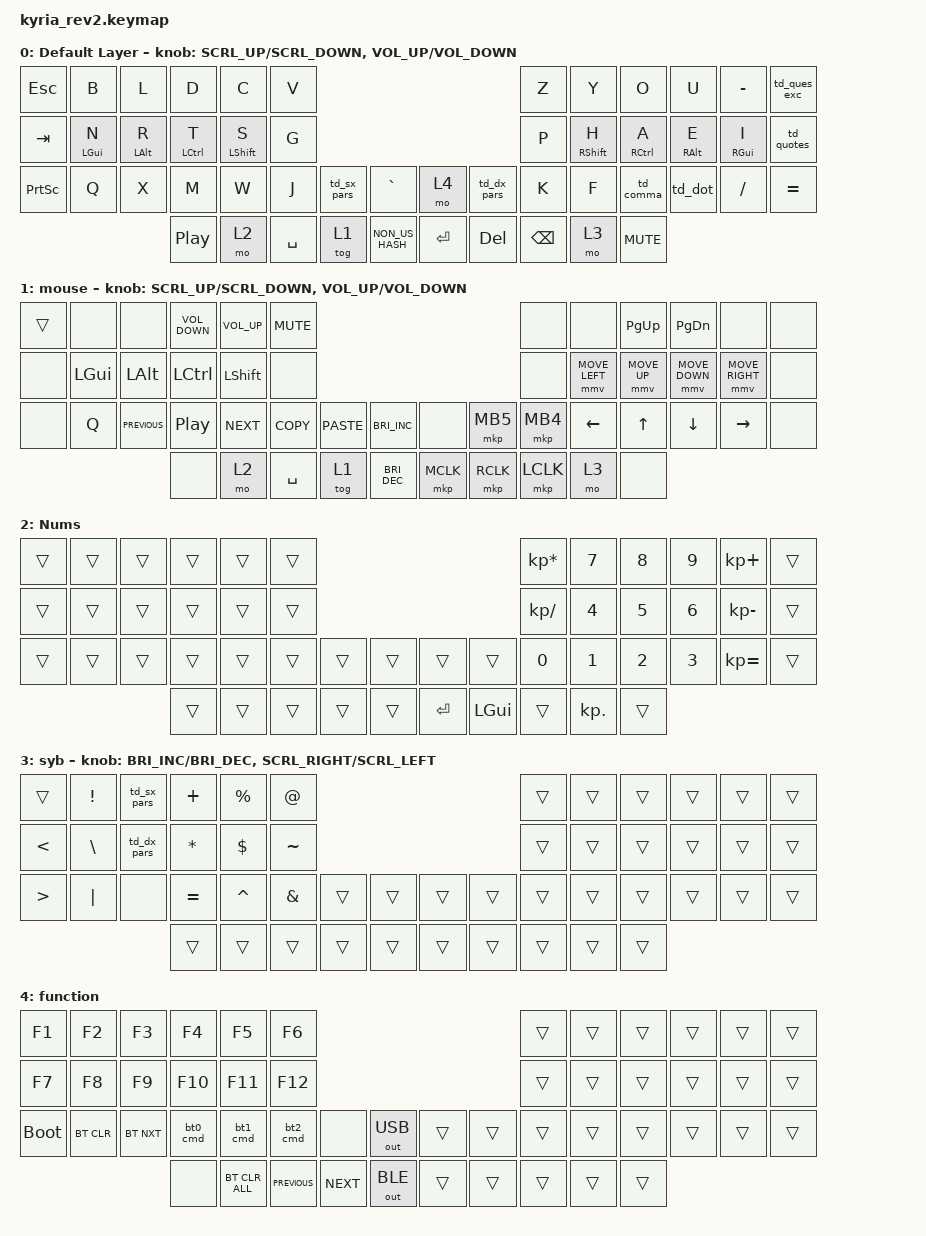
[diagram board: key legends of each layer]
// Define scroll speed BEFORE including pointing.h
// #define ZMK_POINTING_DEFAULT_MOVE_VAL 600

#define ZMK_POINTING_DEFAULT_MOVE_VAL 1100
#define ZMK_POINTING_DEFAULT_SCRL_VAL 100

#include <locale/keys_en_gb_extended.h>
#include <behaviors.dtsi>
#include <dt-bindings/zmk/bt.h>
#include <dt-bindings/zmk/keys.h>
#include <dt-bindings/zmk/outputs.h>
#include <dt-bindings/zmk/pointing.h>

&mt {
    flavor = "balanced";
    tapping-term-ms = <300>;
    quick-tap-ms = <175>;
    require-prior-idle-ms = <150>;
    hold-trigger-on-release;
};

/ {
    behaviors {
        mouse_scroll: sensor_scroll {
            compatible = "zmk,behavior-sensor-rotate-var";
            #sensor-binding-cells = <2>;
            bindings = <&msc>, <&msc>;

            tap-ms = <20>;
        };

        td_sx_pars: parenthesis {
            compatible = "zmk,behavior-tap-dance";
            #binding-cells = <0>;
            tapping-term-ms = <200>;
            bindings =
                <&kp LEFT_PARENTHESIS>,
                <&kp LEFT_BRACKET>,
                <&kp LEFT_BRACE>;
        };

        td_dx_pars: dxpar {
            compatible = "zmk,behavior-tap-dance";
            #binding-cells = <0>;
            tapping-term-ms = <200>;
            bindings =
                <&kp RIGHT_PARENTHESIS>,
                <&kp RIGHT_BRACKET>,
                <&kp RIGHT_BRACE>;
        };

        td_comma: commas {
            compatible = "zmk,behavior-tap-dance";
            label = "TD_COMMA";
            #binding-cells = <0>;
            bindings = <&kp COMMA>, <&kp SEMI>;

            tapping-term-ms = <200>;
        };

        td_dot: period {
            compatible = "zmk,behavior-tap-dance";
            label = "TD_DOT";
            #binding-cells = <0>;
            bindings = <&kp DOT>, <&kp COLON>;

            tapping-term-ms = <200>;
        };

        // select which bt profile, hold to disconnect if inactive

        bt0_cmd: bt0_cmd {
            compatible = "zmk,behavior-tap-dance";
            label = "BT0_CMD";
            #binding-cells = <0>;
            bindings = <&bt BT_SEL 0>, <&bt BT_DISC 0>;
        };

        bt1_cmd: bt1_cmd {
            compatible = "zmk,behavior-tap-dance";
            label = "BT1_CMD";
            #binding-cells = <0>;
            bindings = <&bt BT_SEL 1>, <&bt BT_DISC 1>;
        };

        bt2_cmd: bt2_cmd {
            compatible = "zmk,behavior-tap-dance";
            label = "BT2_CMD";
            #binding-cells = <0>;
            bindings = <&bt BT_SEL 2>, <&bt BT_DISC 2>;
        };

        td_prntscr: td_prntscr {
            compatible = "zmk,behavior-tap-dance";
            label = "TD_PRNTSCR";
            #binding-cells = <0>;
            bindings = <&none>, <&kp PRINTSCREEN>;
        };

        td_quotes: quote_doubleq {
            compatible = "zmk,behavior-tap-dance";
            label = "QUOTE_DOUBLEQ";
            #binding-cells = <0>;
            tapping-term-ms = <200>;
            bindings = <&kp SINGLE_QUOTE>, <&kp GB_DOUBLE_QUOTES>;
        };

        td_ques_exc: td_ques_exc {
            compatible = "zmk,behavior-tap-dance";
            label = "TD_QUES_EXC";
            #binding-cells = <0>;
            bindings = <&kp QUESTION>, <&kp EXCL>;
        };
    };

    combos {
        compatible = "zmk,combos";

        left_arrow {
            bindings = <&kp LEFT>;
            key-positions = <35 36>;
            layers = <0>;
        };

        right_arrow {
            bindings = <&kp RIGHT>;
            key-positions = <38 37>;
            layers = <0>;
        };

        up_arrow {
            bindings = <&kp UP_ARROW>;
            key-positions = <36 37>;
            layers = <0>;
        };

        down_arrow {
            bindings = <&kp DOWN_ARROW>;
            key-positions = <35 38>;
            layers = <0>;
        };

        caps_lock {
            bindings = <&kp CAPS>;
            key-positions = <24 39>;
            layers = <0>;
        };
    };

    keymap {
        compatible = "zmk,keymap";

        default {
            display-name = "Default Layer";

            // ---------------------------------------------------------------------------------------------------------------------------------
            // |  ESC  |  Q  |  W  |  E   |  R   |  T   |                                          |  Y   |  U    |  I    |  O   |   P   |   BSP  |
            // |       |  A  |  S  |  D   |  F   |  G   |                                          |  H   |  J    |  K    |  L   |   ;   |    '   |
            // |       |  Z  |  X  |  C   |  V   |  B   |   "["   |    `    |  |   CAPS  |   "]"   |  N   |  M    |  ,    |  .   |   /   |        |
            //                     | PP   |      |      |  SPACE  |   TAB   |  |   RET   |  SPACE  |      |       | MUTE  |

            bindings = <
&kp ESC          &kp B           &kp L           &kp D               &kp C             &kp V                                                          &kp Z          &kp Y              &kp O                &kp U            &kp MINUS        &td_ques_exc
&kp TAB          &mt LEFT_GUI N  &mt LEFT_ALT R  &mt LEFT_CONTROL T  &mt LEFT_SHIFT S  &kp G                                                          &kp P          &mt RIGHT_SHIFT H  &mt RIGHT_CONTROL A  &mt RIGHT_ALT E  &mt RIGHT_GUI I  &td_quotes
&kp PRINTSCREEN  &kp Q           &kp X           &kp M               &kp W             &kp J      &td_sx_pars  &kp GRAVE        &mo 4    &td_dx_pars  &kp K          &kp F              &td_comma            &td_dot          &kp FSLH         &kp EQUAL
                                                 &kp C_PLAY_PAUSE    &mo 2             &kp SPACE  &tog 1       &kp NON_US_HASH  &kp RET  &kp DELETE   &kp BACKSPACE  &mo 3              &kp C_MUTE
            >;

            sensor-bindings =
                <&mouse_scroll SCRL_UP SCRL_DOWN>,
                <&inc_dec_kp C_VOLUME_UP C_VOLUME_DOWN>;
        };

        mouse {
            bindings = <
&trans  &none         &none           &kp C_VOLUME_DOWN  &kp C_VOLUME_UP  &kp K_MUTE                                                           &none      &none           &kp PAGE_UP   &kp PAGE_DOWN   &none            &none
&none   &kp LEFT_GUI  &kp LEFT_ALT    &kp LEFT_CONTROL   &kp LEFT_SHIFT   &none                                                                &none      &mmv MOVE_LEFT  &mmv MOVE_UP  &mmv MOVE_DOWN  &mmv MOVE_RIGHT  &none
&none   &kp Q         &kp C_PREVIOUS  &kp C_PLAY_PAUSE   &kp C_NEXT       &kp K_COPY  &kp K_PASTE  &kp C_BRIGHTNESS_INC  &none      &mkp MB5   &mkp MB4   &kp LEFT_ARROW  &kp UP_ARROW  &kp DOWN_ARROW  &kp RIGHT_ARROW  &none
                                      &none              &mo 2            &kp SPACE   &tog 1       &kp C_BRI_DEC         &mkp MCLK  &mkp RCLK  &mkp LCLK  &mo 3           &none
            >;

            sensor-bindings =
                <&mouse_scroll SCRL_UP SCRL_DOWN>,
                <&inc_dec_kp C_VOLUME_UP C_VOLUME_DOWN>;
        };

        Nums {
            bindings = <
&trans  &trans  &trans  &trans  &trans  &trans                                           &kp KP_ASTERISK  &kp N7      &kp N8  &kp N9  &kp KP_PLUS      &trans
&trans  &trans  &trans  &trans  &trans  &trans                                           &kp KP_DIVIDE    &kp N4      &kp N5  &kp N6  &kp KP_SUBTRACT  &trans
&trans  &trans  &trans  &trans  &trans  &trans  &trans  &trans  &trans     &trans        &kp NUMBER_0     &kp N1      &kp N2  &kp N3  &kp KP_EQUAL     &trans
                        &trans  &trans  &trans  &trans  &trans  &kp ENTER  &kp LEFT_GUI  &trans           &kp KP_DOT  &trans
            >;
        };

        syb {
            bindings = <
&trans            &kp EXCL       &td_sx_pars  &kp PLUS      &kp PERCENT  &kp AT                                         &trans  &trans  &trans  &trans  &trans  &trans
&kp LESS_THAN     &kp BACKSLASH  &td_dx_pars  &kp ASTERISK  &kp DOLLAR   &kp TILDE                                      &trans  &trans  &trans  &trans  &trans  &trans
&kp GREATER_THAN  &kp PIPE       &none        &kp EQUAL     &kp CARET    &kp AMPERSAND  &trans  &trans  &trans  &trans  &trans  &trans  &trans  &trans  &trans  &trans
                                              &trans        &trans       &trans         &trans  &trans  &trans  &trans  &trans  &trans  &trans
            >;

            sensor-bindings =
                <&inc_dec_kp C_BRIGHTNESS_INC C_BRIGHTNESS_DEC>,
                <&mouse_scroll SCRL_RIGHT SCRL_LEFT>;
        };

        function {
            bindings = <
&kp F1       &kp F2      &kp F3      &kp F4    &kp F5          &kp F6                                                    &trans  &trans  &trans  &trans  &trans  &trans
&kp F7       &kp F8      &kp F9      &kp F10   &kp F11         &kp F12                                                   &trans  &trans  &trans  &trans  &trans  &trans
&bootloader  &bt BT_CLR  &bt BT_NXT  &bt0_cmd  &bt1_cmd        &bt2_cmd        &none       &out OUT_USB  &trans  &trans  &trans  &trans  &trans  &trans  &trans  &trans
                                     &none     &bt BT_CLR_ALL  &kp K_PREVIOUS  &kp K_NEXT  &out OUT_BLE  &trans  &trans  &trans  &trans  &trans
            >;
        };
    };
};
